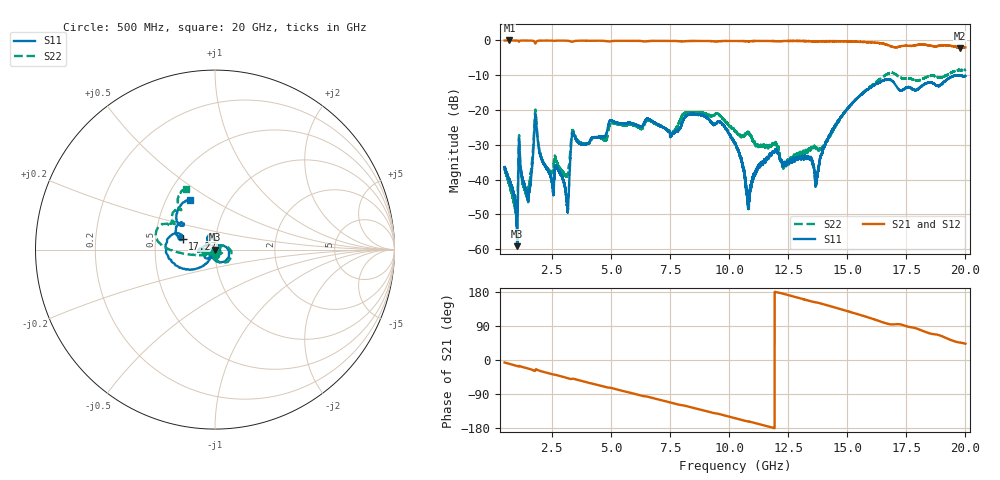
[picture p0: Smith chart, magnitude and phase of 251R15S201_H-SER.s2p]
!{251R15S201}
!Johanson Technology Inc.
!www.johansontechnology.com
!Test Board Conditions:
!Substrate Type  RO4350B
!Substrate Thickness  20 mil
!Substrate Dk  3.66
!TL Type: GCPW
!TL Trace Width  34 mil
!TL Gap  10 mil
!Electrode orientation  Horizontal
!DUT TOPOLOGY	SERIES
!Mounting Pad LxW  26x52 mil
! Created Thu Mar 12 16:56:44 2020
# mhz S ma R 50
! 2 Port Network Data from SP1.SP block
! freq  magS11  angS11  magS21  angS21  magS12  angS12  magS22  angS22
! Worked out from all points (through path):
!   19501 points, 500 MHz to 20 GHz, reference 50 ohm
!   highest |S21| = 0.00 dB at 704 MHz (marker M1); lowest = -2.1 dB at 19.79 GHz (marker M2)
!   group delay of S21, straight-line fit = 43.8 ps
!   lowest |S11| = -59.1 dB at 1.029 GHz (marker M3), VSWR 1.00, Z = 49.9 - j0.0133 ohm
!   |S11| at or under -10 dB: start of sweep to 19.61 GHz; 19.6516 GHz to 19.67391 GHz (22.31 MHz wide, 0.113 % of centre); 19.73 GHz to end of sweep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
!   |S22| runs from -50.5 to -8.4 dB; largest |S21 - S12| = 0.018
!   S11 on the Smith chart (normalised r, x): 500 MHz: 0.99, -0.03; 17.27 GHz: 0.69, +0.09; 20 GHz: 0.66, +0.41
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500  0.01514 -99.9  0.9987 -6.6  0.9984 -6.6  0.01437 -93.8
704  0.009785 -109.1  0.9996 -10.1  0.9986 -10.1  0.008752 -90.6
1029  0.001106 -173.1  0.9968 -15.5  0.9964 -15.6  0.003945 3.4
1173  0.01543 -109.0  0.9953 -16.9  0.9953 -16.9  0.01509 -84.8
1489  0.005114 -127.3  0.9963 -22.5  0.9967 -22.5  0.005052 -60.5
1820  0.08151 -61.8  0.9223 -24.6  0.9223 -24.6  0.09299 -53.0
2217  0.01573 -153.8  0.9957 -32.6  0.9953 -32.6  0.016 -85.9
3130  0.004887 -138.9  0.9909 -47.1  0.9911 -47.1  0.0111 -75.3
3388  0.04758 -100.1  0.9604 -49.4  0.9603 -49.4  0.05146 -90.8
3750  0.03211 -140.6  0.9915 -55.4  0.9913 -55.4  0.03347 -138.8
7000  0.06202 161.3  0.9865 -104.1  0.987 -104.0  0.06034 177.8
8831  0.08484 101.7  0.9822 -131.7  0.9815 -131.7  0.09184 -175.9
10250  0.0342 69.2  0.9841 -153.5  0.9841 -153.5  0.04952 -178.2
10813  0.00381 30.4  0.9731 -162.3  0.9711 -162.3  0.0476 -154.8
11913  0.02541 -118.2  0.9787 -179.7  0.9784 -179.8  0.03179 -102.1
13500  0.01851 168.0  0.9722 154.3  0.9715 154.4  0.02897 -64.4
13703  0.01013 -154.7  0.9615 151.8  0.9627 151.8  0.0288 -96.7
14793  0.08349 -121.0  0.9747 132.9  0.9702 132.9  0.08349 -158.4
16750  0.2752 173.6  0.8529 95.2  0.8437 94.9  0.3367 167.9
17271  0.1897 161.1  0.8263 93.6  0.8223 93.6  0.2902 151.6
19786  0.3133 117.8  0.7828 45.7  0.786 46.2  0.3745 117.6
20000  0.3094 116.2  0.7946 43.0  0.7952 43.2  0.3764 115.5
